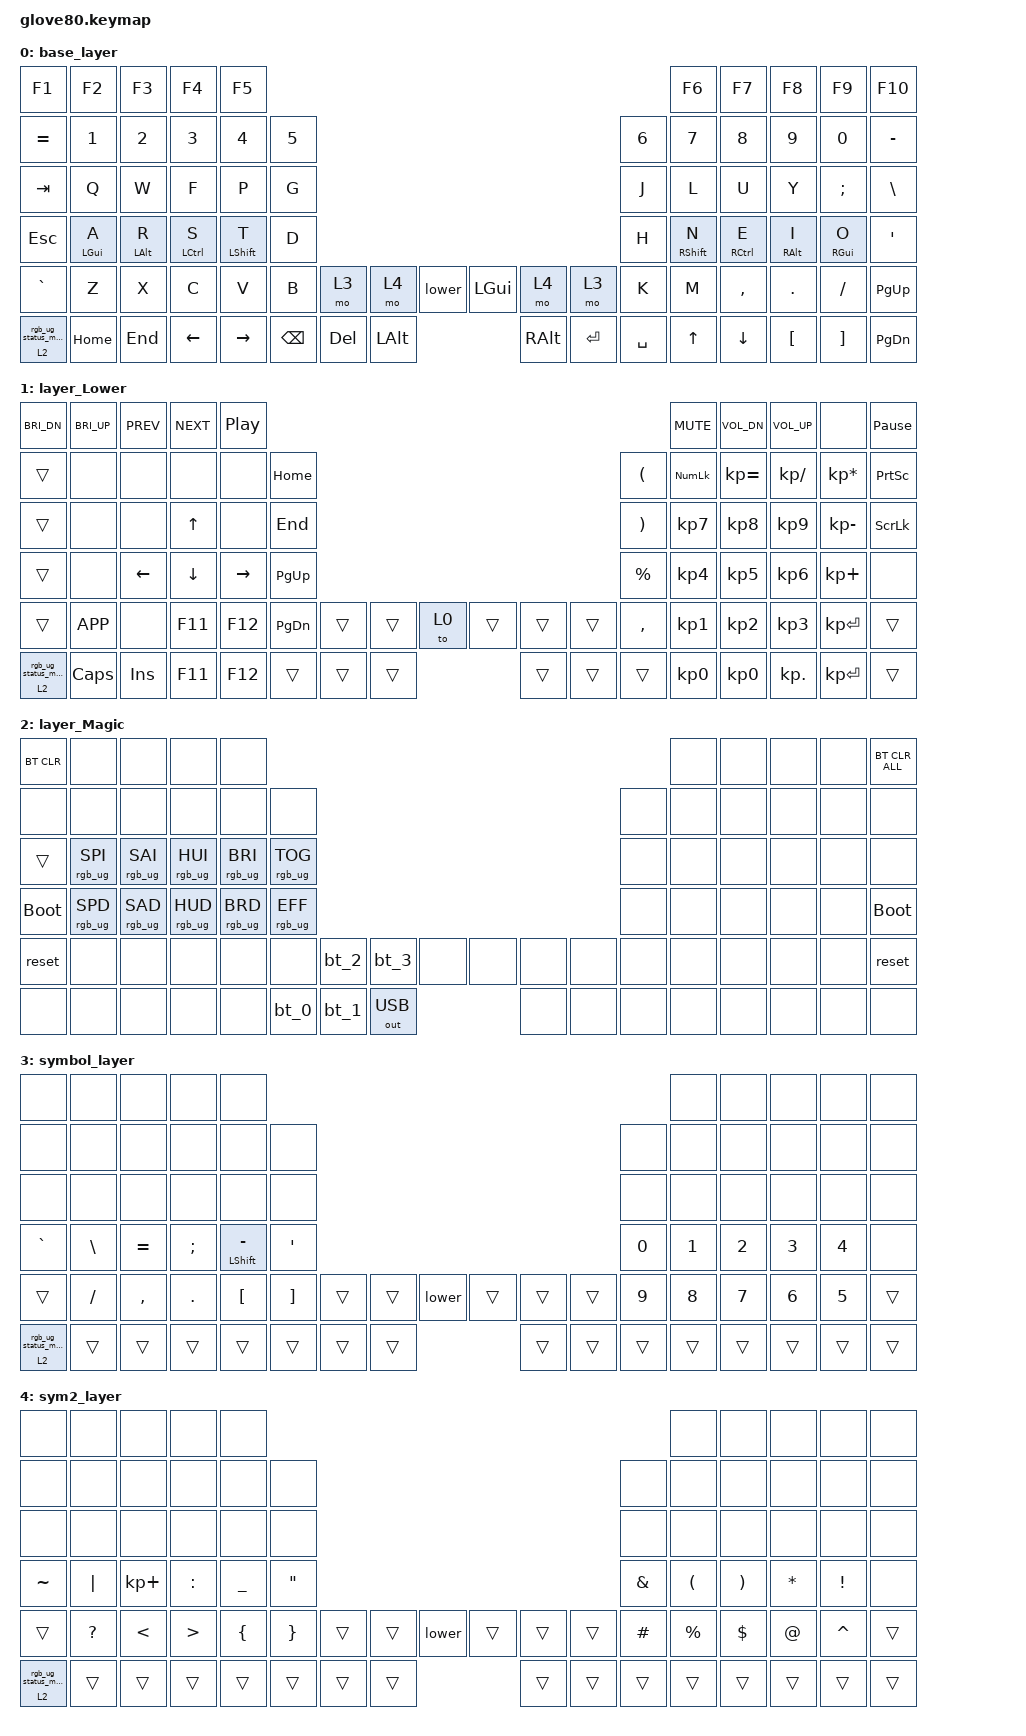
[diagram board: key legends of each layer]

/*
 * Copyright (c) 2020 The ZMK Contributors
 * Copyright (c) 2022 Innaworks Development Limited, trading as MoErgo
 *
 * SPDX-License-Identifier: MIT
 */


/* THIS FILE WAS GENERATED BY GLOVE80 LAYOUT EDITOR
 *
 * This file was generated automatically. You may or may not want to
 * edit it directly.
 */

#include <behaviors.dtsi>
/* Include all behaviour includes needed by system behaviors/macros */
#include <dt-bindings/zmk/outputs.h>

/* Include behaviour includes needed by key binds - automatically generated */
#include <dt-bindings/zmk/keys.h>
#include <dt-bindings/zmk/bt.h>
#include <dt-bindings/zmk/rgb.h>
#include <dt-bindings/zmk/outputs.h>


/ {
    /* Glove80 system behavior & macros */
    behaviors {
        // For the "layer" key, it'd nice to be able to use it as either a shift or a toggle.
        // Configure it as a tap dance, so the first tap (or hold) is a &mo and the second tap is a &to
        lower: tap_dance_0 {
            compatible = "zmk,behavior-tap-dance";
            label = "LAYER_TAP_DANCE";
            #binding-cells = <0>;
            tapping-term-ms = <200>;
            bindings = <&mo 1>, <&to 1>;
        };
    };

    macros {
        rgb_ug_status_macro: rgb_ug_status_macro_0 {
            label = "RGB_UG_STATUS";
            compatible = "zmk,behavior-macro";
            #binding-cells = <0>;
            bindings
                = <&rgb_ug RGB_STATUS>;
        };
    };

    macros {
        bt_0: bt_profile_macro_0 {
            label = "BT_0";
            compatible = "zmk,behavior-macro";
            #binding-cells = <0>;
            bindings
                = <&out OUT_BLE>,
                  <&bt BT_SEL 0>;
        };
    };

    macros {
        bt_1: bt_profile_macro_1 {
            label = "BT_1";
            compatible = "zmk,behavior-macro";
            #binding-cells = <0>;
            bindings
                = <&out OUT_BLE>,
                  <&bt BT_SEL 1>;
        };
    };

    macros {
        bt_2: bt_profile_macro_2 {
            label = "BT_2";
            compatible = "zmk,behavior-macro";
            #binding-cells = <0>;
            bindings
                = <&out OUT_BLE>,
                  <&bt BT_SEL 2>;
        };
    };

    macros {
        bt_3: bt_profile_macro_3 {
            label = "BT_3";
            compatible = "zmk,behavior-macro";
            #binding-cells = <0>;
            bindings
                = <&out OUT_BLE>,
                  <&bt BT_SEL 3>;
        };
    };

    magic: magic_hold_tap {
        compatible = "zmk,behavior-hold-tap";
        label = "MAGIC_HOLD_TAP";
        #binding-cells = <2>;
        flavor = "tap-preferred";
        tapping-term-ms = <200>;
        bindings = <&mo>, <&rgb_ug_status_macro>;
    };

    /* Custom Defined Behaviors */


    /* Automatically generated keymap */
    keymap {
        compatible = "zmk,keymap";


        base_layer {

            bindings = <
     &kp F1    &kp F2   &kp F3    &kp F4     &kp F5                                                                                  &kp F6     &kp F7    &kp F8    &kp F9    &kp F10
  &kp EQUAL    &kp N1   &kp N2    &kp N3     &kp N4  &kp N5                                                                  &kp N6  &kp N7     &kp N8    &kp N9    &kp N0  &kp MINUS
    &kp TAB     &kp Q    &kp W     &kp F      &kp P   &kp G                                                                   &kp J   &kp L      &kp U     &kp Y  &kp SEMI   &kp BSLH
    &kp ESC     &mt LGUI A    &mt LALT R     &mt LCTRL S      &mt LSHFT T   &kp D                                                                   &kp H   &mt RSHFT N      &mt RCTRL E     &mt RALT I     &mt RGUI O    &kp SQT
  &kp GRAVE     &kp Z    &kp X     &kp C      &kp V   &kp B  &mo 3  &mo 4    &lower  &kp LGUI  &mo 4  &mo 3   &kp K   &kp M  &kp COMMA   &kp DOT  &kp FSLH  &kp PG_UP
 &magic 2 0  &kp HOME  &kp END  &kp LEFT  &kp RIGHT           &kp BSPC    &kp DEL  &kp LALT  &kp RALT    &kp RET  &kp SPACE          &kp UP   &kp DOWN  &kp LBKT  &kp RBKT  &kp PG_DN
            >;
        };

        layer_Lower {
            bindings = <
 &kp C_BRI_DN  &kp C_BRI_UP      &kp C_PREV      &kp C_NEXT         &kp C_PP                                                                                    &kp C_MUTE  &kp C_VOL_DN  &kp C_VOL_UP            &none  &kp PAUSE_BREAK
       &trans         &none           &none           &none            &none   &kp HOME                                                   &kp LEFT_PARENTHESIS  &kp KP_NUM  &kp KP_EQUAL  &kp KP_SLASH  &kp KP_MULTIPLY  &kp PRINTSCREEN
       &trans         &none           &none    &kp UP_ARROW            &none    &kp END                                                  &kp RIGHT_PARENTHESIS   &kp KP_N7     &kp KP_N8     &kp KP_N9     &kp KP_MINUS   &kp SCROLLLOCK
       &trans         &none  &kp LEFT_ARROW  &kp DOWN_ARROW  &kp RIGHT_ARROW  &kp PG_UP                                                            &kp PERCENT   &kp KP_N4     &kp KP_N5     &kp KP_N6      &kp KP_PLUS            &none
       &trans     &kp K_APP           &none         &kp F11          &kp F12  &kp PG_DN  &trans  &trans   &to 0  &trans  &trans  &trans              &kp COMMA   &kp KP_N1     &kp KP_N2     &kp KP_N3     &kp KP_ENTER           &trans
   &magic 2 0      &kp CAPS         &kp INS         &kp F11          &kp F12             &trans  &trans  &trans  &trans  &trans  &trans                          &kp KP_N0     &kp KP_N0    &kp KP_DOT     &kp KP_ENTER           &trans
            >;
        };

        layer_Magic {
            bindings = <
  &bt BT_CLR            &none            &none            &none            &none                                                                                  &none   &none   &none   &none  &bt BT_CLR_ALL
       &none            &none            &none            &none            &none            &none                                                         &none   &none   &none   &none   &none           &none
      &trans  &rgb_ug RGB_SPI  &rgb_ug RGB_SAI  &rgb_ug RGB_HUI  &rgb_ug RGB_BRI  &rgb_ug RGB_TOG                                                         &none   &none   &none   &none   &none           &none
 &bootloader  &rgb_ug RGB_SPD  &rgb_ug RGB_SAD  &rgb_ug RGB_HUD  &rgb_ug RGB_BRD  &rgb_ug RGB_EFF                                                         &none   &none   &none   &none   &none     &bootloader
      &reset            &none            &none            &none            &none            &none   &bt_2   &bt_3         &none   &none   &none   &none   &none   &none   &none   &none   &none          &reset
       &none            &none            &none            &none            &none                    &bt_0   &bt_1  &out OUT_USB   &none   &none   &none           &none   &none   &none   &none           &none
            >;
        };

    symbol_layer {
            bindings = <
     &none    &none   &none    &none     &none                                                                                  &none     &none    &none    &none    &none
  &none    &none   &none    &none     &none  &none                                                                  &none  &none     &none    &none    &none  &none

    &none     &none &none      &none       &none    &none                                                                    &none   &none &none &none &none &none
    &kp GRAVE     &kp BSLH     &kp EQUAL     &kp SEMI      &mt LSHIFT MINUS   &kp SQT                                                                   &kp N0   &kp N1   &kp N2     &kp N3    &kp N4    &none
  &trans     &kp FSLH    &kp COMMA     &kp DOT      &kp LBKT   &kp RBKT  &trans  &trans    &lower  &trans  &trans  &trans   &kp N9   &kp N8  &kp N7   &kp N6  &kp N5  &trans
 &magic 2 0  &trans  &trans  &trans  &trans           &trans    &trans  &trans  &trans    &trans  &trans          &trans   &trans  &trans  &trans  &trans
            >;
        };

    sym2_layer {
            bindings = <
     &none    &none   &none    &none     &none                                                                                  &none     &none    &none    &none    &none
  &none    &none   &none    &none     &none  &none                                                                  &none  &none     &none    &none    &none  &none

    &none     &none &none      &none       &none    &none                                                                    &none   &none &none &none &none &none
    &kp TILDE     &kp PIPE     &kp KP_PLUS     &kp COLON      &kp UNDER   &kp DQT                                                                   &kp AMPS   &kp LPAR   &kp RPAR     &kp STAR    &kp EXCL    &none
  &trans     &kp QMARK    &kp LT     &kp GT      &kp LBRC   &kp RBRC  &trans  &trans    &lower  &trans  &trans  &trans   &kp HASH   &kp PRCNT  &kp DLLR   &kp AT  &kp CARET  &trans
 &magic 2 0  &trans  &trans  &trans  &trans           &trans    &trans  &trans  &trans    &trans  &trans          &trans   &trans  &trans  &trans  &trans
            >;
        };
    };




};
